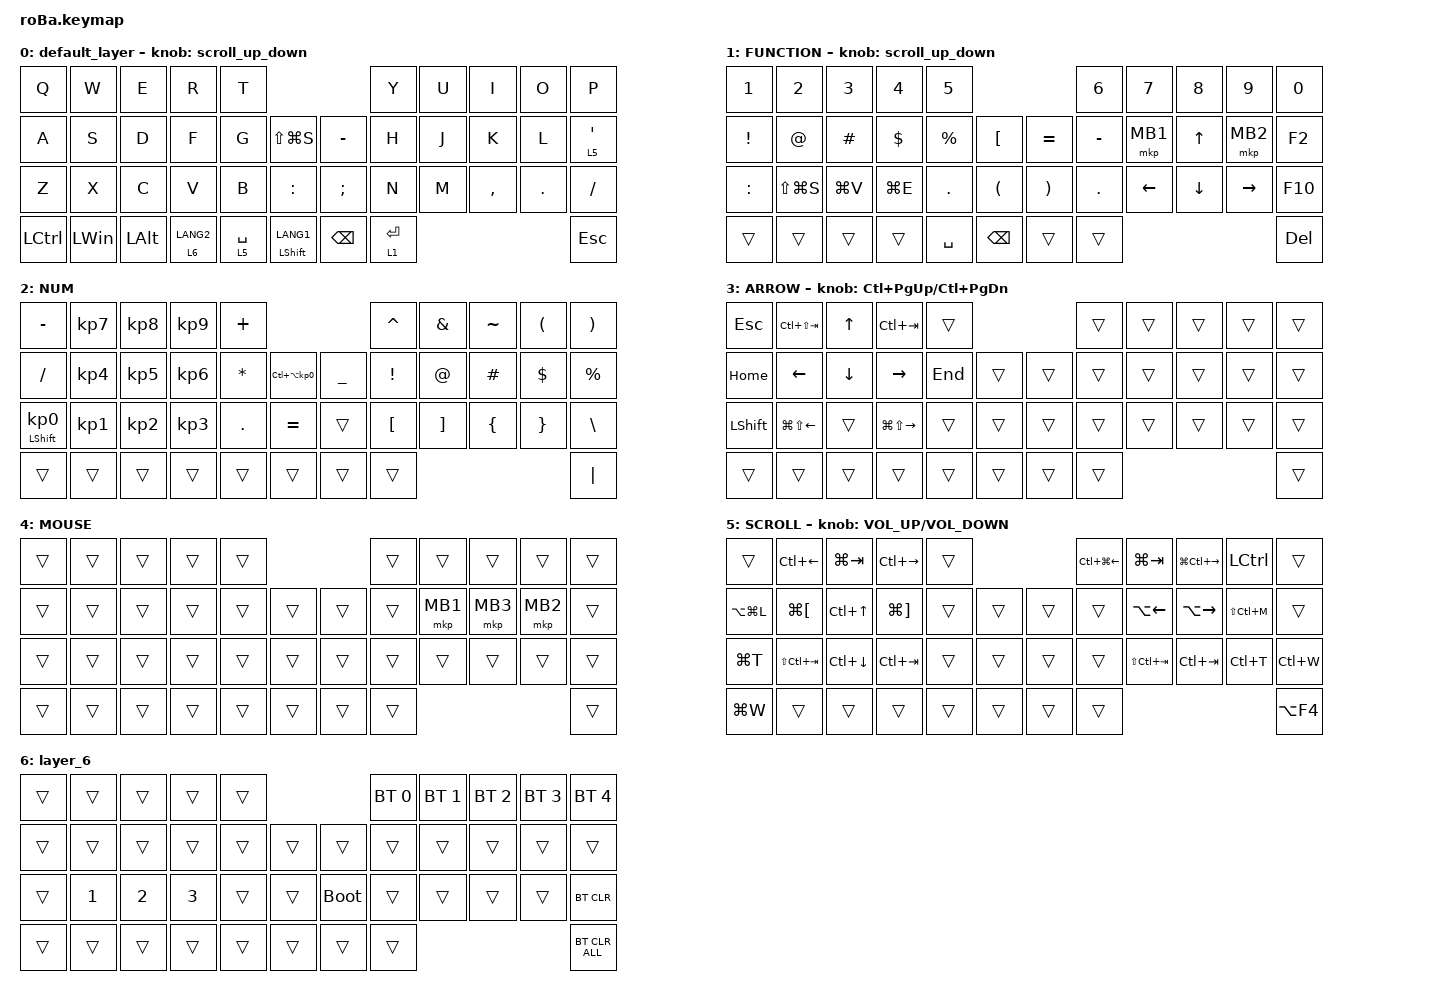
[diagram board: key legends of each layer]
#include <behaviors.dtsi>
#include <dt-bindings/zmk/bt.h>
#include <dt-bindings/zmk/keys.h>
#include <dt-bindings/zmk/pointing.h>

#define ZMK_POINTING_DEFAULT_SCRL_VAL 100

&mt {
    flavor = "balanced";
    quick-tap-ms = <0>;
};

&trackball {
    automouse-layer = <4>;
    scroll-layers = <5>;

    // arrows {
    //     layers = <3>;
    //     bindings =
    //         <&kp RIGHT_ARROW>,
    //         <&kp LEFT_ARROW>,
    //         <&kp UP_ARROW>,
    //         <&kp DOWN_ARROW>;
    //     tick = <10>;
    //     wait-ms = <5>;
    //     tap-ms = <5>;
    // };
};

/ {
    combos {
        compatible = "zmk,combos";

        BT_All_CLA {
            bindings = <&bt BT_CLR_ALL>;
            key-positions = <28 16>;
        };

        BT0 {
            bindings = <&bt BT_SEL 0>;
            key-positions = <22 23>;
        };

        BT1 {
            bindings = <&bt BT_SEL 1>;
            key-positions = <22 24>;
        };

        BT2 {
            bindings = <&bt BT_SEL 2>;
            key-positions = <22 25>;
        };

        BT3 {
            bindings = <&bt BT_SEL 3>;
            key-positions = <22 26>;
        };

        BT4 {
            bindings = <&bt BT_SEL 4>;
            key-positions = <22 27>;
        };
    };

    macros {
        to_layer_0: to_layer_0 {
            compatible = "zmk,behavior-macro-one-param";
            #binding-cells = <1>;
            bindings = <&to 0 &macro_param_1to1 &kp MACRO_PLACEHOLDER>;
            label = "TO_LAYER_0";
        };
    };

    behaviors {
        lt_to_layer_0: lt_to_layer_0 {
            compatible = "zmk,behavior-hold-tap";
            label = "LAYER_TAP_TO_0";
            bindings = <&mo>, <&to_layer_0>;

            #binding-cells = <2>;
            tapping-term-ms = <200>;
        };

        scroll_up_down: behavior_sensor_rotate_mouse_wheel_up_down {
            compatible = "zmk,behavior-sensor-rotate";
            #sensor-binding-cells = <0>;
            bindings = <&msc SCRL_UP>, <&msc SCRL_DOWN>;

            tap-ms = <20>;
        };
    };

    keymap {
        compatible = "zmk,keymap";

        default_layer {
            bindings = <
&kp Q      &kp W         &kp E         &kp R                   &kp T                                                 &kp Y        &kp U  &kp I      &kp O    &kp P
&kp A      &kp S         &kp D         &kp F                   &kp G        &kp LS(LG(S))             &kp MINUS      &kp H        &kp J  &kp K      &kp L    &lt 5 SQT
&kp Z      &kp X         &kp C         &kp V                   &kp B        &kp COLON                 &kp SEMICOLON  &kp N        &kp M  &kp COMMA  &kp DOT  &kp SLASH
&kp LCTRL  &kp LEFT_WIN  &kp LEFT_ALT  &lt_to_layer_0 6 LANG2  &lt 5 SPACE  &mt LEFT_SHIFT LANG1      &kp BACKSPACE  &lt 1 ENTER                             &kp ESCAPE
            >;

            sensor-bindings = <&scroll_up_down>;
        };

        FUNCTION {
            bindings = <
&kp NUMBER_1     &kp NUMBER_2   &kp NUMBER_3  &kp NUMBER_4  &kp N5                                                        &kp NUMBER_6  &kp NUMBER_7  &kp NUMBER_8    &kp NUMBER_9  &kp NUMBER_0
&kp EXCLAMATION  &kp AT_SIGN    &kp HASH      &kp DOLLAR    &kp PERCENT  &kp LBKT                  &kp EQUAL              &kp MINUS     &mkp MB1      &kp UP_ARROW    &mkp MB2      &kp F2
&kp COLON        &kp LS(LG(S))  &kp LG(V)     &kp LG(E)     &kp DOT      &kp LEFT_PARENTHESIS      &kp RIGHT_PARENTHESIS  &kp PERIOD    &kp LEFT      &kp DOWN_ARROW  &kp RIGHT     &kp F10
&trans           &trans         &trans        &trans        &kp SPACE    &kp BACKSPACE             &trans                 &trans                                                    &kp DEL
            >;

            sensor-bindings = <&scroll_up_down>;
        };

        NUM {
            bindings = <
&kp MINUS                   &kp KP_NUMBER_7  &kp KP_NUMBER_8  &kp KP_NUMBER_9  &kp PLUS                                                   &kp CARET         &kp AMPERSAND      &kp TILDE       &kp LEFT_PARENTHESIS  &kp RIGHT_PARENTHESIS
&kp SLASH                   &kp KP_NUMBER_4  &kp KP_NUMBER_5  &kp KP_NUMBER_6  &kp ASTERISK  &kp LC(LA(KP_NUMBER_0))      &kp UNDERSCORE  &kp EXCLAMATION   &kp AT_SIGN        &kp HASH        &kp DOLLAR            &kp PERCENT
&mt LEFT_SHIFT KP_NUMBER_0  &kp KP_NUMBER_1  &kp KP_NUMBER_2  &kp KP_NUMBER_3  &kp PERIOD    &kp EQUAL                    &trans          &kp LEFT_BRACKET  &kp RIGHT_BRACKET  &kp LEFT_BRACE  &kp RIGHT_BRACE       &kp BACKSLASH
&trans                      &trans           &trans           &trans           &trans        &trans                       &trans          &trans                                                                     &kp PIPE
            >;
        };

        ARROW {
            bindings = <
&kp ESCAPE      &kp LC(LS(TAB))         &kp UP_ARROW    &kp LC(TAB)              &trans                       &trans  &trans  &trans  &trans  &trans
&kp HOME        &kp LEFT_ARROW          &kp DOWN_ARROW  &kp RIGHT_ARROW          &kp END  &trans      &trans  &trans  &trans  &trans  &trans  &trans
&kp LEFT_SHIFT  &kp LG(LS(LEFT_ARROW))  &trans          &kp LG(LS(RIGHT_ARROW))  &trans   &trans      &trans  &trans  &trans  &trans  &trans  &trans
&trans          &trans                  &trans          &trans                   &trans   &trans      &trans  &trans                          &trans
            >;

            sensor-bindings = <&inc_dec_kp LC(PAGE_UP) LC(PAGE_DOWN)>;
        };

        MOUSE {
            bindings = <
&trans  &trans  &trans  &trans  &trans                      &trans  &trans    &trans    &trans    &trans
&trans  &trans  &trans  &trans  &trans  &trans      &trans  &trans  &mkp MB1  &mkp MB3  &mkp MB2  &trans
&trans  &trans  &trans  &trans  &trans  &trans      &trans  &trans  &trans    &trans    &trans    &trans
&trans  &trans  &trans  &trans  &trans  &trans      &trans  &trans                                &trans
            >;
        };

        SCROLL {
            bindings = <
&trans         &kp LC(LEFT)     &kp LG(TAB)         &kp LC(RIGHT)  &trans                      &kp LC(LG(LEFT))  &kp LG(TAB)      &kp LG(LC(RIGHT))  &kp LCTRL      &trans
&kp LA(LG(L))  &kp LG(LBKT)     &kp LC(UP)          &kp LG(RBKT)   &trans  &trans      &trans  &trans            &kp LA(LEFT)     &kp LA(RIGHT)      &kp LS(LC(M))  &trans
&kp LG(T)      &kp LS(LC(TAB))  &kp LC(DOWN_ARROW)  &kp LC(TAB)    &trans  &trans      &trans  &trans            &kp LS(LC(TAB))  &kp LC(TAB)        &kp LC(T)      &kp LC(W)
&kp LG(W)      &trans           &trans              &trans         &trans  &trans      &trans  &trans                                                               &kp LA(F4)
            >;

            sensor-bindings = <&inc_dec_kp C_VOL_UP C_VOLUME_DOWN>;
        };

        layer_6 {
            bindings = <
&trans  &trans        &trans        &trans        &trans                           &bt BT_SEL 0  &bt BT_SEL 1  &bt BT_SEL 2  &bt BT_SEL 3  &bt BT_SEL 4
&trans  &trans        &trans        &trans        &trans  &trans      &trans       &trans        &trans        &trans        &trans        &trans
&trans  &kp NUMBER_1  &kp NUMBER_2  &kp NUMBER_3  &trans  &trans      &bootloader  &trans        &trans        &trans        &trans        &bt BT_CLR
&trans  &trans        &trans        &trans        &trans  &trans      &trans       &trans                                                  &bt BT_CLR_ALL
            >;
        };
    };
};
